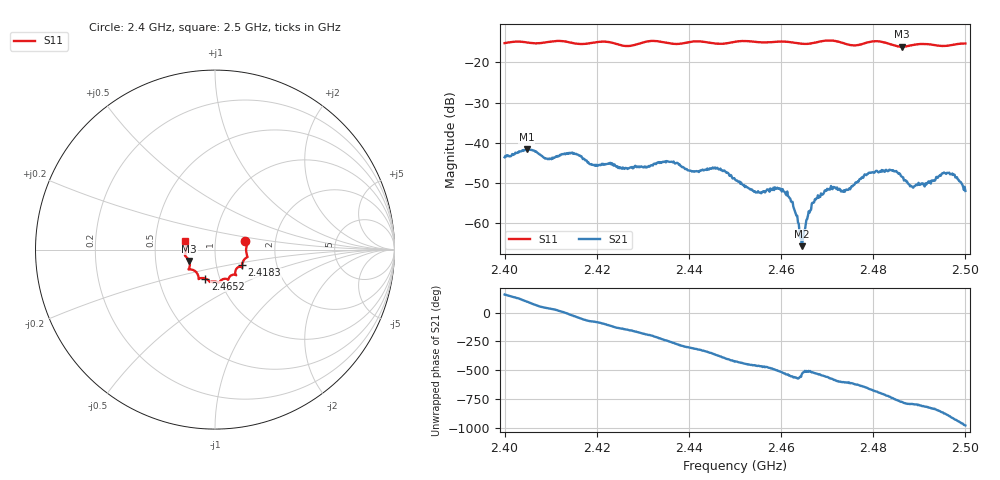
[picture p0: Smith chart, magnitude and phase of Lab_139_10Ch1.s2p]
# Hz S RI R 50
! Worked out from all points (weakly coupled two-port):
!   601 points, 2.4 GHz to 2.5 GHz, reference 50 ohm
!   highest |S21| = -41.66 dB at 2.4048 GHz (marker M1); lowest = -65.9 dB at 2.4645 GHz (marker M2)
!   lowest |S11| = -16.1 dB at 2.4862 GHz (marker M3), VSWR 1.37, Z = 37.2 - j4.86 ohm
!   |S11| at or under -10 dB: start of sweep to end of sweep
!   S12 and S22 are empty: the file has one direction only
!   S11 on the Smith chart (normalised r, x): 2.4 GHz: 1.40, +0.14; 2.4183 GHz: 1.33, -0.24; 2.4652 GHz: 0.85, -0.28; 2.5 GHz: 0.71, +0.07
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2.4e9  0.1679 0.047  -0.006 0.00266  0 0  0 0
2.404833e9  0.1767 0.0201  -0.000563 0.00824  0 0  0 0
2.409167e9  0.1769 -0.0275  0.00487 0.00399  0 0  0 0
2.416667e9  0.1554 -0.068  0.00406 -0.00538  0 0  0 0
2.418333e9  0.1502 -0.0863  0.00163 -0.00521  0 0  0 0
2.433333e9  0.1173 -0.1413  -0.00445 0.00349  0 0  0 0
2.445667e9  0.057 -0.1625  0.00488 -0.000306  0 0  0 0
2.45e9  0.0259 -0.1794  0.00142 -0.00317  0 0  0 0
2.454333e9  0.012 -0.1806  -0.000247 -0.00245  0 0  0 0
2.460833e9  -0.0291 -0.1795  -0.00236 -0.000524  0 0  0 0
2.4625e9  -0.0338 -0.1742  -0.00177 0.000438  0 0  0 0
2.4645e9  -0.0475 -0.1644  -0.000507 -5.28e-05  0 0  0 0
2.465167e9  -0.0545 -0.1614  -0.00066 -0.000458  0 0  0 0
2.466667e9  -0.0708 -0.1579  -0.00162 -0.000632  0 0  0 0
2.4705e9  -0.0914 -0.1644  -0.00229 0.00131  0 0  0 0
2.474e9  -0.0949 -0.1419  -0.00111 0.00229  0 0  0 0
2.478667e9  -0.1384 -0.1105  0.00157 0.00371  0 0  0 0
2.483333e9  -0.1416 -0.0968  0.00441 -0.000475  0 0  0 0
2.486167e9  -0.1435 -0.0637  0.00225 -0.00302  0 0  0 0
2.4885e9  -0.159 -0.0431  0.000853 -0.00266  0 0  0 0
2.496667e9  -0.1618 0.0226  -0.00402 -1.95e-05  0 0  0 0
2.5e9  -0.1658 0.0474  -0.000496 0.00244  0 0  0 0
